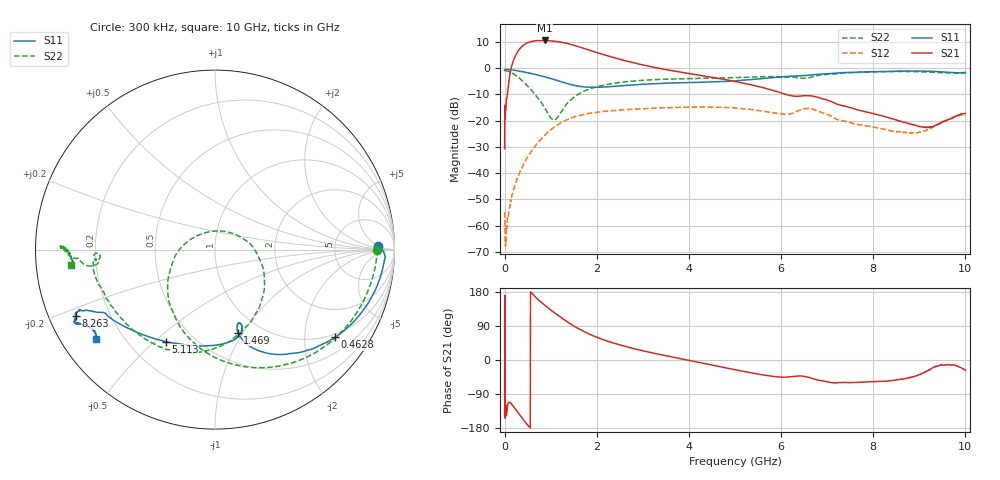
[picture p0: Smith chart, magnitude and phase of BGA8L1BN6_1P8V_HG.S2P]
!Agilent Technologies,E5071C,MY46316587,B.13.01
!Date: Tue Nov 28 12:31:37 2017
!Data & Calibration Information:
!Freq	S11:SOLT2(ON)	S21:SOLT2(ON)	S12:SOLT2(ON)	S22:SOLT2(ON)
!PortZ  Port1:50+j0  Port2:50+j0
!Above PortZ is port z conversion or system Z0 setting when saving the data.
!When reading, reference impedance value at option line is always used.
# Hz S RI R 50
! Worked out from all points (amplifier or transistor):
!   1601 points, 300 kHz to 10 GHz, reference 50 ohm
!   highest |S21| = 10.5 dB at 875.3 MHz (marker M1)
!   |S21| within 3 dB of that: 338.3 MHz to 1.72 GHz (1.381 GHz wide, 134 % of centre)
!   unconditionally stable (mu >= 1): start of sweep to end of sweep
!   at 1.663 GHz: K = 1.31, MAG = 9.5 dB, |S12| = -17.9 dB
!   at 5 GHz: K = 2.24, MAG = -1.2 dB, |S12| = -15.2 dB
!   at 10 GHz: K = 3.21, MAG = -7.6 dB, |S12| = -18.1 dB
!   lowest NFmin = 0.76 dB at 850 MHz
!   S11 on the Smith chart (normalised r, x): 300 kHz: 19, +5; 462.8 MHz: 0.90, -2.81; 1.469 GHz: 0.79, -0.95; 5.113 GHz: 0.35, -0.54; 8.263 GHz: 0.08, -0.22; 10 GHz: 0.10, -0.33
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300000  0.9058 0.0228  -0.0249 -0.0153  -0.000828 0.00164  0.9035 -0.00213
5.654831e7  0.9403 -0.0772  -0.1837 -0.2239  -0.000391 0.00112  0.8462 -0.2453
1.127966e8  0.9205 -0.1548  -0.2738 -0.6805  -0.000898 0.00205  0.725 -0.4378
2.565423e8  0.8348 -0.3258  -1.268 -1.372  -0.0038 0.00607  0.2806 -0.6572
3.502895e8  0.7641 -0.4108  -2.073 -1.287  -0.00622 0.00934  0.0235 -0.6117
4.627861e8  0.6701 -0.4881  -2.837 -0.7153  -0.0098 0.015  -0.1725 -0.4605
6.440307e8  0.5189 -0.5592  -3.23 0.6005  -0.0148 0.0278  -0.2638 -0.1968
8.752738e8  0.3498 -0.5846  -2.722 1.959  -0.018 0.0499  -0.1688 0.031
1.169015e9  0.1928 -0.5373  -1.43 2.824  -0.00717 0.085  0.0727 0.0978
1.469006e9  0.1275 -0.462  -0.0994 2.77  0.0232 0.1119  0.2536 -0.0644
1.669e9  0.1228 -0.4273  0.4981 2.402  0.0472 0.1195  0.2758 -0.2081
1.918992e9  0.132 -0.4101  0.9112 1.874  0.0737 0.1197  0.2302 -0.3513
2.231483e9  0.1454 -0.4155  1.106 1.31  0.1008 0.113  0.1352 -0.4711
2.725218e9  0.149 -0.4498  1.105 0.6997  0.1329 0.0947  -0.0287 -0.5605
3.3377e9  0.1143 -0.4977  0.9619 0.2634  0.1609 0.0678  -0.2104 -0.5697
5.00015e9  -0.2392 -0.5197  0.5025 -0.2412  0.172 -0.0249  -0.5866 -0.299
5.112647e9  -0.2756 -0.5125  0.4688 -0.2532  0.1674 -0.0303  -0.6082 -0.2703
6.66885e9  -0.6544 -0.3499  0.1949 -0.2213  0.1452 -0.082  -0.6713 -0.0872
8.262552e9  -0.776 -0.3698  0.0664 -0.0981  0.0599 -0.0322  -0.8514 0.00987
8.33755e9  -0.7758 -0.377  0.0649 -0.0933  0.0581 -0.0294  -0.8522 0.0124
9.193774e9  -0.7699 -0.4132  0.0665 -0.0346  0.0663 0.0131  -0.8373 0.0108
1e10  -0.6614 -0.4973  0.1214 -0.0617  0.1214 -0.0254  -0.7998 -0.0851
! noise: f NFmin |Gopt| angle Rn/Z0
6.5e+08  0.8644  0.2919  57.45  0.2314
7.5e+08  0.781  0.4733  39.36  0.2023
8.5e+08  0.7645  0.4759  52.23  0.1724
9.5e+08  0.7839  0.4383  55.96  0.1758
5e+07  0.7881  0.4976  57.56  0.1783
1e+08  0.7928  0.4121  60.77  0.1709
